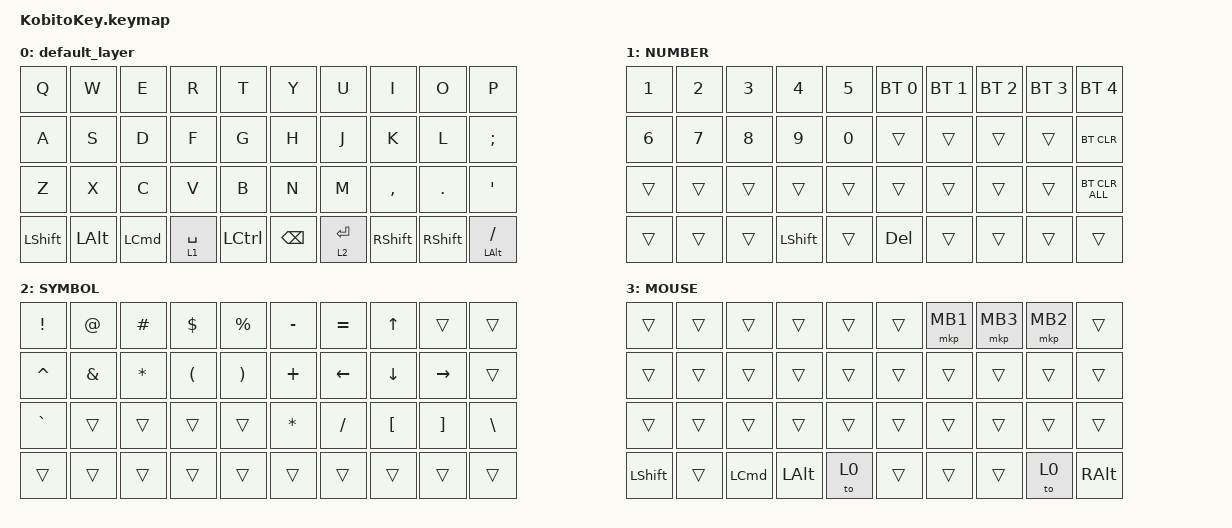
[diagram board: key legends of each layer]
#include <input/processors.dtsi>
#include <behaviors.dtsi>
#include <dt-bindings/zmk/bt.h>
#include <dt-bindings/zmk/keys.h>
#include <dt-bindings/zmk/pointing.h>

/ {
    combos {
        compatible = "zmk,combos";

        combo_eisu {
            timeout-ms = <50>;
            key-positions = <12 13>;
            bindings = <&kp LANG2>;
        };

        combo_kana {
            timeout-ms = <50>;
            key-positions = <16 17>;
            bindings = <&kp LANG1>;
        };

        combo_esc {
            timeout-ms = <50>;
            key-positions = <0 1>;
            bindings = <&kp ESC>;
        };

        combo_tab {
            timeout-ms = <50>;
            key-positions = <10 11>;
            bindings = <&kp TAB>;
        };
    };

    keymap {
        compatible = "zmk,keymap";

        default_layer {
            bindings = <
&kp Q      &kp W     &kp E     &kp R        &kp T      &kp Y     &kp U        &kp I      &kp O      &kp P
&kp A      &kp S     &kp D     &kp F        &kp G      &kp H     &kp J        &kp K      &kp L      &kp SEMI
&kp Z      &kp X     &kp C     &kp V        &kp B      &kp N     &kp M        &kp COMMA  &kp DOT    &kp APOS
&kp LSHFT  &kp LALT  &kp LCMD  &lt 1 SPACE  &kp LCTRL  &kp BSPC  &lt 2 ENTER  &kp RSHFT  &kp RSHFT  &mt LALT SLASH
            >;
        };

        layer1 {
            label = "NUMBER";
            bindings = <
&kp N1     &kp N2  &kp N3  &kp N4     &kp N5  &bt BT_SEL 0  &bt BT_SEL 1  &bt BT_SEL 2  &bt BT_SEL 3  &bt BT_SEL 4
&kp N6     &kp N7  &kp N8  &kp N9     &kp N0  &trans        &trans        &trans        &trans        &bt BT_CLR
&trans     &trans  &trans  &trans     &trans  &trans        &trans        &trans        &trans        &bt BT_CLR_ALL
&trans     &trans  &trans  &kp LSHFT  &trans  &kp DEL       &trans        &trans        &trans        &trans
            >;
        };

        layer2 {
            label = "SYMBOL";
            bindings = <
&kp EXCL   &kp AT    &kp HASH   &kp DLLR  &kp PRCNT  &kp MINUS  &kp EQUAL  &kp UP    &trans     &trans
&kp CARET  &kp AMPS  &kp ASTRK  &kp LPAR  &kp RPAR   &kp PLUS   &kp LEFT   &kp DOWN  &kp RIGHT  &trans
&kp GRAVE  &trans    &trans     &trans    &trans     &kp ASTRK  &kp SLASH  &kp LBKT  &kp RBKT   &kp BSLH
&trans     &trans    &trans     &trans    &trans     &trans     &trans     &trans    &trans     &trans
            >;
        };

        layer3 {
            label = "MOUSE";
            bindings = <
&trans     &trans  &trans    &trans    &trans  &trans  &mkp MB1  &mkp MB3  &mkp MB2  &trans
&trans     &trans  &trans    &trans    &trans  &trans  &trans    &trans    &trans    &trans
&trans     &trans  &trans    &trans    &trans  &trans  &trans    &trans    &trans    &trans
&kp LSHFT  &trans  &kp LCMD  &kp LALT  &to 0   &trans  &trans    &trans    &to 0     &kp RALT
            >;
        };
    };
};
